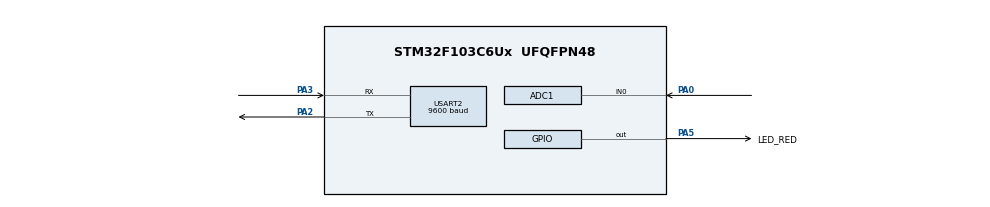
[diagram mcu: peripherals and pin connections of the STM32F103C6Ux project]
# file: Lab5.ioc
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ADC1.Channel-0\#ChannelRegularConversion=ADC_CHANNEL_0
ADC1.ContinuousConvMode=ENABLE
ADC1.NbrOfConversionFlag=1
ADC1.Rank-0\#ChannelRegularConversion=1
ADC1.SamplingTime-0\#ChannelRegularConversion=ADC_SAMPLETIME_1CYCLE_5
ADC1.master=1
Mcu.Family=STM32F1
Mcu.Name=STM32F103C6Ux
Mcu.Package=UFQFPN48
NVIC.PriorityGroup=NVIC_PRIORITYGROUP_4
NVIC.TIM2_IRQn=true\:0\:0\:false\:false\:true\:true\:true
NVIC.USART2_IRQn=true\:0\:0\:false\:false\:true\:true\:true
PA0-WKUP.Signal=ADCx_IN0
PA2.Mode=Asynchronous
PA2.Signal=USART2_TX
PA3.Mode=Asynchronous
PA3.Signal=USART2_RX
PA5.GPIO_Label=LED_RED
PA5.Signal=GPIO_Output
ProjectManager.HeapSize=0x200
ProjectManager.StackSize=0x400
ProjectManager.TargetToolchain=STM32CubeIDE
RCC.APB1Freq_Value=8000000
RCC.APB2Freq_Value=8000000
SH.ADCx_IN0.0=ADC1_IN0,IN0
TIM2.Period=9
TIM2.Prescaler=7999
USART2.BaudRate=9600
USART2.VirtualMode=VM_ASYNC
VP_SYS_VS_ND.Mode=No_Debug
VP_TIM2_VS_ClockSourceINT.Mode=Internal
board=custom

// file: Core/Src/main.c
/* USER CODE BEGIN Header */
/**
  ******************************************************************************
  * @file           : main.c
  * @brief          : Main program body
  ******************************************************************************
  * @attention
  *
  * <h2><center>&copy; Copyright (c) 2022 STMicroelectronics.
  * All rights reserved.</center></h2>
  *
  * This software component is licensed by ST under BSD 3-Clause license,
  * the "License"; You may not use this file except in compliance with the
  * License. You may obtain a copy of the License at:
  *                        opensource.org/licenses/BSD-3-Clause
  *
  ******************************************************************************
  */
/* USER CODE END Header */
#include "main.h"

/* USER CODE BEGIN Includes */
#include "global.h"
#include "string.h"
#include "stdio.h"
#include "software_timer.h"
#include "command_parser.h"
#include "uart_communication.h"
/* USER CODE END Includes */

ADC_HandleTypeDef hadc1;

TIM_HandleTypeDef htim2;

UART_HandleTypeDef huart2;

void SystemClock_Config(void);
static void MX_GPIO_Init(void);
static void MX_ADC1_Init(void);
static void MX_USART2_UART_Init(void);
static void MX_TIM2_Init(void);

/* USER CODE BEGIN 0 */
//uint8_t temp = 0;

//void HAL_UART_RxCpltCallback ( UART_HandleTypeDef * huart ){
//	 if(huart -> Instance == USART2 ){
//	 HAL_UART_Transmit (&huart2 , &temp , 1, 50) ;
//	 HAL_UART_Receive_IT (&huart2 , &temp , 1);
//	 }
//}
void HAL_UART_RxCpltCallback(UART_HandleTypeDef * huart) {
	if(huart->Instance == USART2){
		buffer[index_buffer++] = temp;
		if(index_buffer == MAX_BUFFER_SIZE) index_buffer = 0;
		buffer_flag = 1;
		HAL_UART_Transmit(&huart2, &temp, 1, 50);
		HAL_UART_Receive_IT(&huart2, &temp, 1);
	}
}
/* USER CODE END 0 */

int main(void)
{

  /* MCU Configuration--------------------------------------------------------*/

  /* Reset of all peripherals, Initializes the Flash interface and the Systick. */
  HAL_Init();

  /* Configure the system clock */
  SystemClock_Config();

  /* Initialize all configured peripherals */
  MX_GPIO_Init();
  MX_ADC1_Init();
  MX_USART2_UART_Init();
  MX_TIM2_Init();
  /* USER CODE BEGIN 2 */
  HAL_TIM_Base_Start_IT(&htim2);
  HAL_UART_Receive_IT (&huart2 , &temp , 1);
//  uint32_t ADC_value = 0;
//  uint32_t result;

//  double res;

  /* USER CODE END 2 */
//  char str[50];
  setTimer(0, 1000);
  clearTimer(1);

  /* Infinite loop */
  while (1)
  {
	  if (timer_flag[0] == 1) {
		  HAL_GPIO_TogglePin(LED_RED_GPIO_Port, LED_RED_Pin);
		  setTimer(0, 1000);
	  }
	  if (buffer_flag == 1) {
		  command_parser_fsm();
		  buffer_flag = 0;
	  }
	  uart_communiation_fsm(hadc1, huart2);
  }
}

void SystemClock_Config(void)
{
  RCC_OscInitTypeDef RCC_OscInitStruct = {0};
  RCC_ClkInitTypeDef RCC_ClkInitStruct = {0};
  RCC_PeriphCLKInitTypeDef PeriphClkInit = {0};

  /** Initializes the RCC Oscillators according to the specified parameters
  * in the RCC_OscInitTypeDef structure.
  */
  RCC_OscInitStruct.OscillatorType = RCC_OSCILLATORTYPE_HSI;
  RCC_OscInitStruct.HSIState = RCC_HSI_ON;
  RCC_OscInitStruct.HSICalibrationValue = RCC_HSICALIBRATION_DEFAULT;
  RCC_OscInitStruct.PLL.PLLState = RCC_PLL_NONE;
  if (HAL_RCC_OscConfig(&RCC_OscInitStruct) != HAL_OK)
  {
    Error_Handler();
  }
  /** Initializes the CPU, AHB and APB buses clocks
  */
  RCC_ClkInitStruct.ClockType = RCC_CLOCKTYPE_HCLK|RCC_CLOCKTYPE_SYSCLK
                              |RCC_CLOCKTYPE_PCLK1|RCC_CLOCKTYPE_PCLK2;
  RCC_ClkInitStruct.SYSCLKSource = RCC_SYSCLKSOURCE_HSI;
  RCC_ClkInitStruct.AHBCLKDivider = RCC_SYSCLK_DIV1;
  RCC_ClkInitStruct.APB1CLKDivider = RCC_HCLK_DIV1;
  RCC_ClkInitStruct.APB2CLKDivider = RCC_HCLK_DIV1;

  if (HAL_RCC_ClockConfig(&RCC_ClkInitStruct, FLASH_LATENCY_0) != HAL_OK)
  {
    Error_Handler();
  }
  PeriphClkInit.PeriphClockSelection = RCC_PERIPHCLK_ADC;
  PeriphClkInit.AdcClockSelection = RCC_ADCPCLK2_DIV2;
  if (HAL_RCCEx_PeriphCLKConfig(&PeriphClkInit) != HAL_OK)
  {
    Error_Handler();
  }
}

static void MX_ADC1_Init(void)
{

  ADC_ChannelConfTypeDef sConfig = {0};

  /** Common config
  */
  hadc1.Instance = ADC1;
  hadc1.Init.ScanConvMode = ADC_SCAN_DISABLE;
  hadc1.Init.ContinuousConvMode = ENABLE;
  hadc1.Init.DiscontinuousConvMode = DISABLE;
  hadc1.Init.ExternalTrigConv = ADC_SOFTWARE_START;
  hadc1.Init.DataAlign = ADC_DATAALIGN_RIGHT;
  hadc1.Init.NbrOfConversion = 1;
  if (HAL_ADC_Init(&hadc1) != HAL_OK)
  {
    Error_Handler();
  }
  /** Configure Regular Channel
  */
  sConfig.Channel = ADC_CHANNEL_0;
  sConfig.Rank = ADC_REGULAR_RANK_1;
  sConfig.SamplingTime = ADC_SAMPLETIME_1CYCLE_5;
  if (HAL_ADC_ConfigChannel(&hadc1, &sConfig) != HAL_OK)
  {
    Error_Handler();
  }

}

static void MX_TIM2_Init(void)
{

  TIM_ClockConfigTypeDef sClockSourceConfig = {0};
  TIM_MasterConfigTypeDef sMasterConfig = {0};

  htim2.Instance = TIM2;
  htim2.Init.Prescaler = 7999;
  htim2.Init.CounterMode = TIM_COUNTERMODE_UP;
  htim2.Init.Period = 9;
  htim2.Init.ClockDivision = TIM_CLOCKDIVISION_DIV1;
  htim2.Init.AutoReloadPreload = TIM_AUTORELOAD_PRELOAD_DISABLE;
  if (HAL_TIM_Base_Init(&htim2) != HAL_OK)
  {
    Error_Handler();
  }
  sClockSourceConfig.ClockSource = TIM_CLOCKSOURCE_INTERNAL;
  if (HAL_TIM_ConfigClockSource(&htim2, &sClockSourceConfig) != HAL_OK)
  {
    Error_Handler();
  }
  sMasterConfig.MasterOutputTrigger = TIM_TRGO_RESET;
  sMasterConfig.MasterSlaveMode = TIM_MASTERSLAVEMODE_DISABLE;
  if (HAL_TIMEx_MasterConfigSynchronization(&htim2, &sMasterConfig) != HAL_OK)
  {
    Error_Handler();
  }

}

static void MX_USART2_UART_Init(void)
{

  huart2.Instance = USART2;
  huart2.Init.BaudRate = 9600;
  huart2.Init.WordLength = UART_WORDLENGTH_8B;
  huart2.Init.StopBits = UART_STOPBITS_1;
  huart2.Init.Parity = UART_PARITY_NONE;
  huart2.Init.Mode = UART_MODE_TX_RX;
  huart2.Init.HwFlowCtl = UART_HWCONTROL_NONE;
  huart2.Init.OverSampling = UART_OVERSAMPLING_16;
  if (HAL_UART_Init(&huart2) != HAL_OK)
  {
    Error_Handler();
  }

}

static void MX_GPIO_Init(void)
{
  GPIO_InitTypeDef GPIO_InitStruct = {0};

  /* GPIO Ports Clock Enable */
  __HAL_RCC_GPIOA_CLK_ENABLE();

  /*Configure GPIO pin Output Level */
  HAL_GPIO_WritePin(LED_RED_GPIO_Port, LED_RED_Pin, GPIO_PIN_RESET);

  /*Configure GPIO pin : LED_RED_Pin */
  GPIO_InitStruct.Pin = LED_RED_Pin;
  GPIO_InitStruct.Mode = GPIO_MODE_OUTPUT_PP;
  GPIO_InitStruct.Pull = GPIO_NOPULL;
  GPIO_InitStruct.Speed = GPIO_SPEED_FREQ_LOW;
  HAL_GPIO_Init(LED_RED_GPIO_Port, &GPIO_InitStruct);

}

/* USER CODE BEGIN 4 */
void HAL_TIM_PeriodElapsedCallback(TIM_HandleTypeDef *htim2){
	timerRun();
}
/* USER CODE END 4 */

void Error_Handler(void)
{
  __disable_irq();
  while (1)
  {
  }
}

/************************ (C) COPYRIGHT STMicroelectronics *****END OF FILE****/
